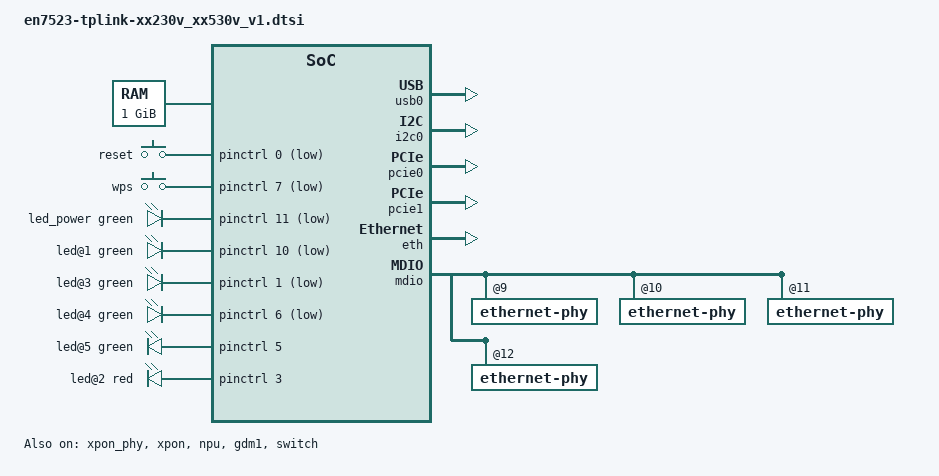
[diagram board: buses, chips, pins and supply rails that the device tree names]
// SPDX-License-Identifier: GPL-2.0-or-later OR MIT
/dts-v1/;

#include <dt-bindings/leds/common.h>
#include <dt-bindings/gpio/gpio.h>
#include <dt-bindings/input/input.h>
#include "en7523.dtsi"

/ {
	chosen {
		bootargs = "console=ttyS0,115200 earlycon";
		stdout-path = "serial0:115200n8";
	};

	aliases {
		serial0 = &uart1;
		led-boot = &led_power;
		led-failsafe = &led_power;
		led-upgrade = &led_power;
		led-running = &led_power;
	};

	memory@80000000 {
		device_type = "memory";
		reg = <0x80000000 0x40000000>;
	};

	keys {
		compatible = "gpio-keys-polled";
		poll-interval = <100>;

		reset {
			label = "reset";
			linux,code = <KEY_RESTART>;
			gpios = <&pinctrl 0 GPIO_ACTIVE_LOW>;
			debounce-interval = <60>;
		};

		wps {
			label = "wps";
			linux,code = <KEY_WPS_BUTTON>;
			gpios = <&pinctrl 7 GPIO_ACTIVE_LOW>;
			debounce-interval = <60>;
		};
	};

	leds {
		compatible = "gpio-leds";

		// Power
		led_power: led@0 {
			color = <LED_COLOR_ID_GREEN>;
			function = LED_FUNCTION_STATUS;
			function-enumerator = <0>;
			gpios = <&pinctrl 11 GPIO_ACTIVE_LOW>;
		};

		// GPON
		led@1 {
			color = <LED_COLOR_ID_GREEN>;
			function = LED_FUNCTION_STATUS;
			function-enumerator = <1>;
			gpios = <&pinctrl 10 GPIO_ACTIVE_LOW>;
		};

		// internet
		led@3 {
			color = <LED_COLOR_ID_GREEN>;
			function = LED_FUNCTION_STATUS;
			function-enumerator = <3>;
			gpios = <&pinctrl 1 GPIO_ACTIVE_LOW>;
		};

		// Wireless
		led@4 {
			color = <LED_COLOR_ID_GREEN>;
			function = LED_FUNCTION_WLAN;
			function-enumerator = <0>;
			gpios = <&pinctrl 6 GPIO_ACTIVE_LOW>;
		};

		// Phone
		led@5 {
			color = <LED_COLOR_ID_GREEN>;
			function = LED_FUNCTION_STATUS;
			function-enumerator = <4>;
			gpios = <&pinctrl 5 GPIO_ACTIVE_HIGH>;
		};

		// LOS
		led@2 {
			color = <LED_COLOR_ID_RED>;
			function = LED_FUNCTION_STATUS;
			function-enumerator = <0>;
			gpios = <&pinctrl 3 GPIO_ACTIVE_HIGH>;
		};
	};
};

&pinctrl {
	gpio-ranges = <&pinctrl 0 0 32>;
};

&usb0 {
	status = "okay";
};

&i2c0 {
	status = "okay";
};

&pcie0 {
	status = "okay";
};

&pcie1 {
	status = "okay";

	pcie@1,0 {
		reg = <0x00000800 0 0 0 0>;
		#address-cells = <3>;
		#size-cells = <2>;

		mt76: mt7915@0,0 {
			reg = <0x0000 0 0 0 0>;
			#address-cells = <1>;
			#size-cells = <0>;
			airoha,npu = <&npu>;
			airoha,eth = <&eth>;

			// 2.4 GHz
			band@0 {
				reg = <0>;
			};

			// 5 GHz
			band@1 {
				reg = <1>;
			};
		};
	};
};

&xpon_phy {
	status = "okay";
};

&xpon {
	status = "okay";
};

&npu {
	status = "okay";
};

&eth {
	status = "okay";
};

&gdm1 {
	status = "okay";
};

&switch {
	status = "okay";
	ports {
		port@1 {
			label = "lan1";
			status = "okay";
		};

		port@2 {
			label = "lan2";
			status = "okay";
		};

		port@3 {
			label = "lan3";
			status = "okay";
		};

		port@4 {
			label = "wan";
			status = "okay";
		};
	};

	mdio {
		ethernet-phy@9 {
			leds {
				led0@0 {
					status = "okay";
				};
			};
		};

		ethernet-phy@10 {
			leds {
				led0@0 {
					status = "okay";
				};
			};
		};

		ethernet-phy@11 {
			leds {
				led0@0 {
					status = "okay";
				};
			};
		};

		ethernet-phy@12 {
			leds {
				led0@0 {
					status = "okay";
					function = LED_FUNCTION_WAN;
				};
			};
		};
	};
};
